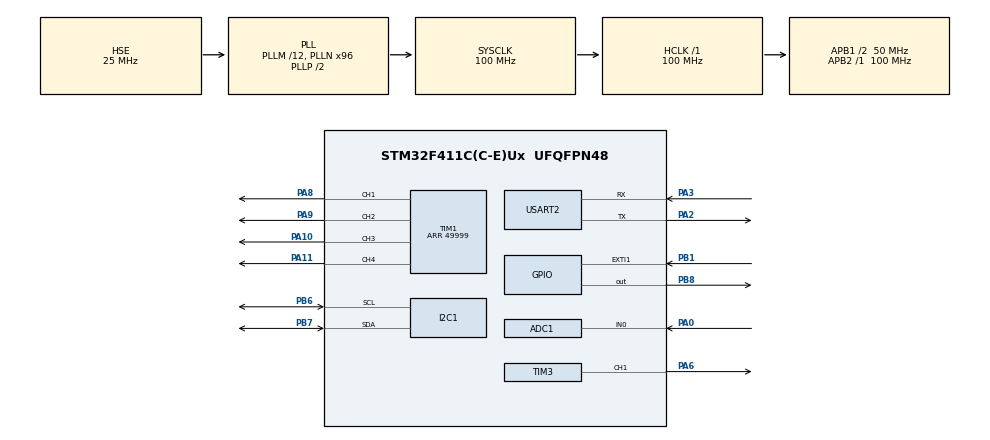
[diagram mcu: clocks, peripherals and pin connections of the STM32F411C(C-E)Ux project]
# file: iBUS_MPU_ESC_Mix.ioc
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ADC1.Channel-1\#ChannelRegularConversion=ADC_CHANNEL_0
ADC1.ClockPrescaler=ADC_CLOCK_SYNC_PCLK_DIV8
ADC1.ContinuousConvMode=ENABLE
ADC1.DMAContinuousRequests=ENABLE
ADC1.NbrOfConversionFlag=1
ADC1.Rank-1\#ChannelRegularConversion=1
ADC1.SamplingTime-1\#ChannelRegularConversion=ADC_SAMPLETIME_480CYCLES
ADC1.master=1
Dma.ADC1.0.Direction=DMA_PERIPH_TO_MEMORY
Dma.ADC1.0.FIFOMode=DMA_FIFOMODE_DISABLE
Dma.ADC1.0.Instance=DMA2_Stream0
Dma.ADC1.0.MemDataAlignment=DMA_MDATAALIGN_HALFWORD
Dma.ADC1.0.MemInc=DMA_MINC_DISABLE
Dma.ADC1.0.Mode=DMA_CIRCULAR
Dma.ADC1.0.PeriphDataAlignment=DMA_PDATAALIGN_HALFWORD
Dma.ADC1.0.PeriphInc=DMA_PINC_DISABLE
Dma.ADC1.0.Priority=DMA_PRIORITY_LOW
Dma.Request0=ADC1
I2C1.I2C_Mode=I2C_Fast
Mcu.Family=STM32F4
Mcu.Name=STM32F411C(C-E)Ux
Mcu.Package=UFQFPN48
NVIC.DMA2_Stream0_IRQn=true\:2\:0\:true\:false\:true\:false\:true\:true
NVIC.EXTI1_IRQn=true\:1\:0\:true\:false\:true\:true\:true\:true
NVIC.I2C1_ER_IRQn=true\:0\:0\:false\:false\:true\:true\:true\:true
NVIC.I2C1_EV_IRQn=true\:0\:0\:true\:false\:true\:true\:true\:true
NVIC.PriorityGroup=NVIC_PRIORITYGROUP_4
NVIC.TIM1_TRG_COM_TIM11_IRQn=true\:2\:0\:true\:false\:true\:true\:true\:true
NVIC.TIM1_UP_TIM10_IRQn=true\:0\:0\:true\:false\:true\:true\:true\:true
NVIC.USART2_IRQn=true\:1\:0\:true\:false\:true\:true\:true\:true
PA0-WKUP.Signal=ADCx_IN0
PA10.Signal=S_TIM1_CH3
PA11.Signal=S_TIM1_CH4
PA13.Mode=Trace_Asynchronous_SW
PA13.Signal=SYS_JTMS-SWDIO
PA14.Mode=Trace_Asynchronous_SW
PA14.Signal=SYS_JTCK-SWCLK
PA2.Mode=Asynchronous
PA2.Signal=USART2_TX
PA3.Mode=Asynchronous
PA3.Signal=USART2_RX
PA6.Signal=S_TIM3_CH1
PA8.Signal=S_TIM1_CH1
PA9.Signal=S_TIM1_CH2
PB1.Signal=GPXTI1
PB3.Mode=Trace_Asynchronous_SW
PB3.Signal=SYS_JTDO-SWO
PB6.Mode=I2C
PB6.Signal=I2C1_SCL
PB7.Mode=I2C
PB7.Signal=I2C1_SDA
PB8.Signal=GPIO_Output
PH0\ -\ OSC_IN.Mode=HSE-External-Oscillator
PH0\ -\ OSC_IN.Signal=RCC_OSC_IN
PH1\ -\ OSC_OUT.Mode=HSE-External-Oscillator
PH1\ -\ OSC_OUT.Signal=RCC_OSC_OUT
ProjectManager.HeapSize=0x200
ProjectManager.StackSize=0x400
ProjectManager.TargetToolchain=STM32CubeIDE
RCC.48MHZClocksFreq_Value=50000000
RCC.AHBFreq_Value=100000000
RCC.APB1CLKDivider=RCC_HCLK_DIV2
RCC.APB1Freq_Value=50000000
RCC.APB1TimFreq_Value=100000000
RCC.APB2Freq_Value=100000000
RCC.APB2TimFreq_Value=100000000
RCC.CortexFreq_Value=100000000
RCC.HCLKFreq_Value=100000000
RCC.HSE_VALUE=25000000
RCC.HSI_VALUE=16000000
RCC.LSE_VALUE=32768
RCC.PLLM=12
RCC.PLLN=96
RCC.PLLSourceVirtual=RCC_PLLSOURCE_HSE
RCC.RCC_RTC_Clock_Source=RCC_RTCCLKSOURCE_LSI
RCC.RCC_RTC_Clock_SourceVirtual=RCC_RTCCLKSOURCE_LSI
RCC.SYSCLKFreq_VALUE=100000000
RCC.SYSCLKSource=RCC_SYSCLKSOURCE_PLLCLK
RCC.VCOOutputFreq_Value=200000000
SH.ADCx_IN0.0=ADC1_IN0,IN0
SH.S_TIM1_CH1.0=TIM1_CH1,PWM Generation1 CH1
SH.S_TIM1_CH2.0=TIM1_CH2,PWM Generation2 CH2
SH.S_TIM1_CH3.0=TIM1_CH3,PWM Generation3 CH3
SH.S_TIM1_CH4.0=TIM1_CH4,PWM Generation4 CH4
SH.S_TIM3_CH1.0=TIM3_CH1,PWM Generation1 CH1
TIM1.AutoReloadPreload=TIM_AUTORELOAD_PRELOAD_ENABLE
TIM1.Channel-PWM\ Generation1\ CH1=TIM_CHANNEL_1
TIM1.Channel-PWM\ Generation2\ CH2=TIM_CHANNEL_2
TIM1.Channel-PWM\ Generation3\ CH3=TIM_CHANNEL_3
TIM1.Channel-PWM\ Generation4\ CH4=TIM_CHANNEL_4
TIM1.Period=49999
TIM10.AutoReloadPreload=TIM_AUTORELOAD_PRELOAD_ENABLE
TIM10.Period=1999
TIM10.Prescaler=99
TIM11.AutoReloadPreload=TIM_AUTORELOAD_PRELOAD_ENABLE
TIM11.Period=999
TIM11.Prescaler=199
TIM2.AutoReloadPreload=TIM_AUTORELOAD_PRELOAD_ENABLE
TIM2.Period=0xFFFFFFFF
TIM2.Prescaler=9
TIM3.AutoReloadPreload=TIM_AUTORELOAD_PRELOAD_ENABLE
TIM3.Channel-PWM\ Generation1\ CH1=TIM_CHANNEL_1
TIM3.Period=99
TIM3.Prescaler=2999
TIM3.Pulse-PWM\ Generation1\ CH1=50
USART2.VirtualMode=VM_ASYNC
VP_TIM10_VS_ClockSourceINT.Mode=Enable_Timer
VP_TIM11_VS_ClockSourceINT.Mode=Enable_Timer
VP_TIM2_VS_ClockSourceINT.Mode=Internal
VP_TIM3_VS_ClockSourceINT.Mode=Internal
board=custom

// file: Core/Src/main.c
/* USER CODE BEGIN Header */
/**
  ******************************************************************************
  * @file           : main.c
  * @brief          : Main program body
  ******************************************************************************
  * @attention
  *
  * Copyright (c) 2026 STMicroelectronics.
  * All rights reserved.
  *
  * This software is licensed under terms that can be found in the LICENSE file
  * in the root directory of this software component.
  * If no LICENSE file comes with this software, it is provided AS-IS.
  *
  ******************************************************************************
  */
/* USER CODE END Header */
#include "main.h"
#include "string.h"
#include "adc.h"
#include "dma.h"
#include "i2c.h"
#include "tim.h"
#include "usart.h"
#include "gpio.h"
#include "unstuck_i2c.h"
#include "mpu6050.h"
#include "iBUS.h"
#include "motor.h"
#include "battery.h"
#include "pid.h"

/* USER CODE BEGIN PV */

volatile uint32_t dwt_loop_exec_ticks = 0;    // Thời gian CPU xử lý 1 vòng lặp PID
volatile float loop_exec_us = 0.0f;           // Thời gian thực thi PID (us)

uint32_t tim1_ch1 = 12500;
uint32_t tim1_ch2 = 12500;
uint32_t tim1_ch3 = 12500;
uint32_t tim1_ch4 = 12500;

float Pitch_PID = 0.0f;
float Roll_PID = 0.0f;
//Chỉ để tường minh, ko cần tới nỗi 3 biến
float Yaw_RT_PID = 0.0f;
float Yaw_ANGLE_PID = 0.0f;
float Yaw_FINAL_PID = 0.0f;
//Biến tham chiếu góc mục tiêu
float Yaw_HEADING_REF = 0.0f;

//PID kép trục Pitch
PID_t pid_pitch_outer = {.KP = 2.0f, .KI = 0.0f, .KD = 0.0f, .error_sum = 0.0f, .prev_val = 0.0f, .IIR_derivative = 0.0f, .PID_OUT = 0.0f};
PID_t pid_pitch_inner = {.KP = 1.0f, .KI = 0.0f, .KD = 0.0f, .error_sum = 0.0f, .prev_val = 0.0f, .IIR_derivative = 0.0f, .PID_OUT = 0.0f};

//PID kép trục Roll
PID_t pid_roll_outer  = {.KP = 2.0f, .KI = 0.0f, .KD = 0.0f, .error_sum = 0.0f, .prev_val = 0.0f, .IIR_derivative = 0.0f, .PID_OUT = 0.0f};
PID_t pid_roll_inner  = {.KP = 1.0f, .KI = 0.0f, .KD = 0.0f, .error_sum = 0.0f, .prev_val = 0.0f, .IIR_derivative = 0.0f, .PID_OUT = 0.0f};

//PID đơn trục Yaw, tốc độ góc
PID_t pid_yaw_rt  = {.KP = 1.0f, .KI = 0.0f, .KD = 0.0f, .error_sum = 0.0f, .prev_val = 0.0f, .IIR_derivative = 0.0f, .PID_OUT = 0.0f};

//PID đơn trục Yaw, chỉ góc
PID_t pid_yaw_ag  = {.KP = 2.0f, .KI = 0.0f, .KD = 0.0f, .error_sum = 0.0f, .prev_val = 0.0f, .IIR_derivative = 0.0f, .PID_OUT = 0.0f};

MPU_MEASUREMENT mpu_mea = {0};
EULER_MEASUREMENT eul_mea = {0};
//Mặc định xung PWM xuất ra là 125us, tức méo quay quạt đâu
MOTOR motor_speed = {12500, 12500, 12500, 12500};

volatile uint8_t mpu_data_ready_flag = 0;
volatile uint8_t ibus_loss_connect_flag = 0;
volatile uint8_t ibus_loss_connect_cnt =0;

// Xem data này có "mới nhất" hay ko
uint8_t ibus_fresh_data =0;
// Snapshot frame iBUS thuộc riêng main, dùng để checksum và decode
uint8_t ibus_snapshot[32];

//MPU hàng bãi, áp dụng logic check xem nó có bị lỏ như mất RX ko
volatile uint8_t mpu_loss_cnt = 0;
volatile uint8_t mpu_loss_flag = 0;
//Biến lấy đại 1 trục bất kì của MPU, vì mpu ko thể có data cũ và mới giống nhau
int16_t old_raw_z = 0;
int16_t curren_raw_z = 0;

uint8_t failsafe_flag = 0;
//Mặc định là lock ko cho chạy motor
uint8_t motor_lock_flag = 1;
uint16_t ibus_prev_val =0;

//Cờ cho ngắt PID, update bổ sung volatile (ko hiểu tại sao ban đầu ko bỏ volatile)
volatile uint8_t pid_flag = 0;

//Bien đọc điện áp của cục pin, update bổ sung volatile (ko hiểu tại sao ban đầu ko bỏ volatile)
volatile uint32_t raw_adc_val;
float BAT_vol;
/* USER CODE END PV */

void SystemClock_Config(void);

/* USER CODE BEGIN 0 */
void Pre_Flight_Check(void);
void Buzzer_Error_Beep(void);
void Buzzer_Status_Beep(void);
void Buzzer_Success(void);
void Buzzer_On(void);
void Buzzer_Off(void);
void ESC_Calib(void);
void Buzzer_Ont(void);
void Motor_Safety(MOTOR *mt_ptr);
/* USER CODE END 0 */

int main(void)
{

  /* MCU Configuration--------------------------------------------------------*/

  /* Reset of all peripherals, Initializes the Flash interface and the Systick. */
  HAL_Init();

  /* Configure the system clock */
  SystemClock_Config();

  /* Initialize all configured peripherals */
  MX_GPIO_Init();
  MX_DMA_Init();
  MX_I2C1_Init();
  MX_TIM1_Init();
  MX_ADC1_Init();
  MX_TIM2_Init();
  MX_TIM3_Init();
  MX_TIM10_Init();
  MX_TIM11_Init();
  MX_USART2_UART_Init();
  /* USER CODE BEGIN 2 */

  //Timer cho ESC
  HAL_TIM_Base_Start(&htim1);
  HAL_TIM_PWM_Start(&htim1, TIM_CHANNEL_1);
  HAL_TIM_PWM_Start(&htim1, TIM_CHANNEL_2);
  HAL_TIM_PWM_Start(&htim1, TIM_CHANNEL_3);
  HAL_TIM_PWM_Start(&htim1, TIM_CHANNEL_4);

  //Timer cho unstuck_i2c hàm nanos
  HAL_TIM_Base_Start(&htim2);

  //Timer dành cho PID
  HAL_TIM_Base_Start_IT(&htim10);
  //Timer dành cho check connect RX vật lý, chạy ngắt 500Hz
  HAL_TIM_Base_Start_IT(&htim11);

  //Bắt đầu khởi tạo 1 đống cấu kiện
  MPU_INIT(&hi2c1);
  fs_i6ab_init(&huart2);
  Motor_Init(&htim1);
  BAT_INIT(&hadc1, &raw_adc_val);
  MPU_CALIB_GYRO(500, &mpu_mea);

  //Hàm tổng hợp các bước check an toàn bay
  Pre_Flight_Check();

  //Timer cho cái còi lởm
  HAL_TIM_PWM_Start(&htim3, TIM_CHANNEL_1);

  //Giờ mới cho các cấu hình MPU ngắt chạy này, để tránh bị giành đường I2C1
  MPU_DATA_READY_START();
  /* USER CODE END 2 */

  /* Infinite loop */
	while (1) {

		/* USER CODE BEGIN 3 */
		if (mpu_data_ready_flag == 1) {
			mpu_data_ready_flag = 0;
			// Gọi hàm toán tử giải mã đại số bitwise bằng cơ chế truyền con trỏ tham chiếu
			MPU_RAW_MEASUREMENT(&mpu_mea);
			CONVERT_TO_ORIENT(&mpu_mea, &eul_mea);
			curren_raw_z = (int16_t) ((mpu_mea.raw_buffer[4] << 8)
					| mpu_mea.raw_buffer[5]);
			//Nếu daata biến thiên thì ok mpu vẫn chạy
			if (curren_raw_z != old_raw_z) {
				mpu_loss_cnt = 0;
				mpu_loss_flag = 0;
			}
			//Data cũ sẽ chạy dưới đây
			old_raw_z = curren_raw_z;
		}

		//Biến check xem Main vừa sao chép được frame vào snapshot hay chưa
		uint8_t have_frame = 0;
		//Bắt giá trị PRIMASK cũ là gì
		uint32_t old_primask = __get_PRIMASK();
		// Tạm chặn các ngắt có mức ưu tiên cấu hình được, trường hợp này là USART
		__disable_irq();

		if (ibus_cplt_flag == 1) {
			//Có frame thì bắt đầu memcpy vào ibus_snapshot
			memcpy(ibus_snapshot, ibus_mailbox, sizeof(ibus_snapshot));
			// Reset cờ truyền frame ibus
			ibus_cplt_flag = 0;
			//Main vừa sao chép được frame vào snapshot
			have_frame = 1;
		}
		//Trả ngắt USART lai thông qua cơ chế trả trạng thái trước khi Exception Entry
		__set_PRIMASK(old_primask);

		if (have_frame == 1) {
			if (ibus_check_sum(&ibus_snapshot[0], 32) == 1) {

				ia6b_decode_data(&ibus_snapshot[0], &fs_i6);
				ibus_loss_connect_cnt = 0;
				ibus_loss_connect_flag = 0;
				//Data này là mới nhé cu
				ibus_fresh_data = 1;
				//Nếu mà check ra failsafe thì dựng cờ lên

				if (is_failsafe(&fs_i6) != 0) {
					failsafe_flag = 1;
				} else
					failsafe_flag = 0;
			}
		}
		Motor_Safety(&motor_speed);

		//Lấy giá trị điện áp cục pin
		BAT_GET_VOL(raw_adc_val, &BAT_vol);

		//Nếu pin yếu thì còi cho    biết còn bay về
		if (is_bat_low(BAT_vol) == 1 && motor_lock_flag == 0) {
			Buzzer_On();
		}

		if (pid_flag == 1) {
			//uint32_t start_exec = DWT->CYCCNT;

			pid_flag = 0;

			if (fs_i6.L_UD <= 1015 || motor_lock_flag == 1) {
				reset_error(&pid_roll_outer);
				reset_error(&pid_roll_inner);
				reset_error(&pid_pitch_outer);
				reset_error(&pid_pitch_inner);
				reset_error(&pid_yaw_rt);
				reset_error(&pid_yaw_ag);

				Pitch_PID = 0.0f;
				Roll_PID = 0.0f;
				Yaw_FINAL_PID = 0.0f;
			}
			//PID Kép trục Pitch
			pid_pitch_roll(3000 - fs_i6.R_UD, mpu_mea.gyro.y, eul_mea.pitch,
					&pid_pitch_outer, &pid_pitch_inner);
			Pitch_PID = pid_pitch_inner.PID_OUT;

			//PID kép trục Roll
			pid_pitch_roll(fs_i6.R_RL, -mpu_mea.gyro.x, eul_mea.roll,
					&pid_roll_outer, &pid_roll_inner);
			Roll_PID = pid_roll_inner.PID_OUT;

			if (fs_i6.L_RL < 1450 || fs_i6.L_RL > 1550) {
				//Tham chiếu để Drone biết nên điều tốc motor xoay ra sao
				Yaw_HEADING_REF = eul_mea.yaw;
				//PID đơn trục Yaw theo tốc độ góc
				pid_yaw_rate(fs_i6.L_RL, mpu_mea.gyro.z, &pid_yaw_rt);
				Yaw_RT_PID = pid_yaw_rt.PID_OUT;
				Yaw_FINAL_PID = Yaw_RT_PID;
			} else {
				//PID đơn trục Yaw theo góc thái độ
				pid_yaw_angle(Yaw_HEADING_REF, eul_mea.yaw, mpu_mea.gyro.z,
						&pid_yaw_ag);
				Yaw_ANGLE_PID = pid_yaw_ag.PID_OUT;
				Yaw_FINAL_PID = Yaw_ANGLE_PID;
			}

			//Chuyển đổi tín hiệu tay cầm thành xung PWM
			uint16_t target_pwm_m1 = (uint16_t) (12500
					+ (fs_i6.L_UD - 1000) * 12.5f + Pitch_PID + Roll_PID
					- Yaw_FINAL_PID);
			//(fs_i6.L_RL - 1500) * 5.0f);

			uint16_t target_pwm_m2 = (uint16_t) (12500
					+ (fs_i6.L_UD - 1000) * 12.5f - Pitch_PID + Roll_PID
					+ Yaw_FINAL_PID);
			//(fs_i6.L_RL - 1500) * 5.0f);

			uint16_t target_pwm_m3 = (uint16_t) (12500
					+ (fs_i6.L_UD - 1000) * 12.5f - Pitch_PID - Roll_PID
					- Yaw_FINAL_PID);
			//(fs_i6.L_RL - 1500) * 5.0f);

			uint16_t target_pwm_m4 = (uint16_t) (12500
					+ (fs_i6.L_UD - 1000) * 12.5f + Pitch_PID - Roll_PID
					+ Yaw_FINAL_PID);
			//(fs_i6.L_RL - 1500) * 5.0f);
			Motor_Update_Values(&motor_speed, target_pwm_m4, target_pwm_m2,
					target_pwm_m3, target_pwm_m1);
			// Tính thời gian CPU chạy hết khối lệnh trên:
			//dwt_loop_exec_ticks = DWT->CYCCNT - start_exec;
			//loop_exec_us = (float)dwt_loop_exec_ticks / 100.0f;
		}
	}
	/* USER CODE END 3 */
}

void SystemClock_Config(void)
{
  RCC_OscInitTypeDef RCC_OscInitStruct = {0};
  RCC_ClkInitTypeDef RCC_ClkInitStruct = {0};

  /** Configure the main internal regulator output voltage
  */
  __HAL_RCC_PWR_CLK_ENABLE();
  __HAL_PWR_VOLTAGESCALING_CONFIG(PWR_REGULATOR_VOLTAGE_SCALE1);

  /** Initializes the RCC Oscillators according to the specified parameters
  * in the RCC_OscInitTypeDef structure.
  */
  RCC_OscInitStruct.OscillatorType = RCC_OSCILLATORTYPE_HSE;
  RCC_OscInitStruct.HSEState = RCC_HSE_ON;
  RCC_OscInitStruct.PLL.PLLState = RCC_PLL_ON;
  RCC_OscInitStruct.PLL.PLLSource = RCC_PLLSOURCE_HSE;
  RCC_OscInitStruct.PLL.PLLM = 12;
  RCC_OscInitStruct.PLL.PLLN = 96;
  RCC_OscInitStruct.PLL.PLLP = RCC_PLLP_DIV2;
  RCC_OscInitStruct.PLL.PLLQ = 4;
  if (HAL_RCC_OscConfig(&RCC_OscInitStruct) != HAL_OK)
  {
    Error_Handler();
  }

  /** Initializes the CPU, AHB and APB buses clocks
  */
  RCC_ClkInitStruct.ClockType = RCC_CLOCKTYPE_HCLK|RCC_CLOCKTYPE_SYSCLK
                              |RCC_CLOCKTYPE_PCLK1|RCC_CLOCKTYPE_PCLK2;
  RCC_ClkInitStruct.SYSCLKSource = RCC_SYSCLKSOURCE_PLLCLK;
  RCC_ClkInitStruct.AHBCLKDivider = RCC_SYSCLK_DIV1;
  RCC_ClkInitStruct.APB1CLKDivider = RCC_HCLK_DIV2;
  RCC_ClkInitStruct.APB2CLKDivider = RCC_HCLK_DIV1;

  if (HAL_RCC_ClockConfig(&RCC_ClkInitStruct, FLASH_LATENCY_3) != HAL_OK)
  {
    Error_Handler();
  }
}

/* USER CODE BEGIN 4 */
void Pre_Flight_Check(void){
	while(is_iBUS_Received() == 0){
		Buzzer_Error_Beep();
	}
	Buzzer_Success();

	if(fs_i6.SwB == 2000){
		Buzzer_Status_Beep();
		ESC_Calib ();
		while(fs_i6.SwB != 1000){
			is_iBUS_Received();
			Buzzer_Status_Beep();
		}
	}
	Buzzer_Success();

	//Nếu ga chưa về 0 sau quá trình khởi tạo thì ko thể chạy hàm main, đảm bảo an toàn
	//Nếu ga về 0 mà chưa chuyển về Disarm thì cũng khoá ko cho bay
	while(is_iBUS_Throttle_Min()== 0 || fs_i6.SwA == 2000){
		Buzzer_Error_Beep();
	}
	Buzzer_Success();
}

void HAL_GPIO_EXTI_Callback(uint16_t GPIO_Pin)
{
  // Kiểm tra chân phát động ngắt có phải là PB1
  // MPU6050 Data Ready: sample mới đã sẵn sàng trong register của MPU
  if (GPIO_Pin == GPIO_PIN_1)
  {
    // Chỉ khởi động I2C non-blocking để nhận 14 bytes vào raw_buffer
    // Việc truyền dữ liệu tiếp tục qua I2C interrupt, EXTI không chờ hoàn thành
    HAL_StatusTypeDef status = MPU_TRIGGER_READ_IT(&hi2c1, &mpu_mea);
    if (status == HAL_BUSY)
    {
    // I2C dang ban khong dong nghia bus bi treo.
    // Bo request nay va cho MPU Data Ready tiep theo.
    // Khong reset I2C khi transaction truoc co the van dang hoat dong.
    // Tạm ko chứng minh được tính hiệu quả của hàm này, nên trong Firmware, hàm unstuck sẽ bị loại bỏ
      //unstuck_i2c1();
    }
  }
}

void HAL_I2C_MemRxCpltCallback(I2C_HandleTypeDef *hi2c)
{
  // Callback chỉ được gọi sau khi I2C đã nhận hoàn tất toàn bộ 14 bytes
  if (hi2c->Instance == I2C1)
  {
	// Báo cho main: raw_buffer đã có một sample hoàn chỉnh để xử lý
    mpu_data_ready_flag = 1;
  }
}

//Callback cho nhận data iBUS
void HAL_UART_RxCpltCallback(UART_HandleTypeDef *huart){
	if(huart->Instance == USART2){
		usart2_rx_flag = 1;
		//Chạy hàm đọc 32byte iBUS
		iBUS_Parse_Byte(&usart2_rx_data);
		//Ngắt từng byte một
		HAL_UART_Receive_IT(&huart2, &usart2_rx_data, 1);
	}
}

void Buzzer_On(void){
	TIM3->ARR = 99;
	TIM3->CCR1 = 50;
	TIM3->PSC = 284;
	//HAL_TIM_PWM_Start(&htim3, TIM_CHANNEL_1);
}

void Buzzer_Off(void){
	TIM3->CCR1 = 0;
}

// Buzz cao dành cho tín hiệu iBUS
void Buzzer_Error_Beep(void){
	TIM3->ARR = 99;
	TIM3->CCR1 = 50; // Duy trì chính xác 50% Duty Cycle cho màng loa rung cực đại
	HAL_TIM_PWM_Start(&htim3, TIM_CHANNEL_1);
	TIM3->PSC = 284;
	HAL_Delay(100);
	HAL_TIM_PWM_Stop(&htim3, TIM_CHANNEL_1);
	HAL_Delay(100);
}

void Buzzer_Status_Beep(void){
	TIM3->ARR = 99;
	TIM3->CCR1 = 50; // Duy trì chính xác 50% Duty Cycle cho màng loa rung cực đại
	HAL_TIM_PWM_Start(&htim3, TIM_CHANNEL_1);
	TIM3->PSC = 999;
	HAL_Delay(100);
	HAL_TIM_PWM_Stop(&htim3, TIM_CHANNEL_1);
	HAL_Delay(100);
}

//Hàm AI viết để nghe tiếng như winXP
void Buzzer_Success(void)
{
	TIM3->ARR = 99;
	TIM3->CCR1 = 35;

	const uint16_t psc[] =
	{
			270,
			315,
			365,
			395
	};

	const uint16_t duration[] =
	{
			120,
			120,
			150,
			260
	};

	for(uint8_t i = 0; i < 4; i++)
	{
		TIM3->PSC = psc[i];

		HAL_TIM_PWM_Start(&htim3, TIM_CHANNEL_1);
		HAL_Delay(duration[i]);
		HAL_TIM_PWM_Stop(&htim3, TIM_CHANNEL_1);

		HAL_Delay(35);
	}
	HAL_Delay(1000);
}

void ESC_Calib(){
	TIM1->CCR1 = 25000;
	TIM1->CCR2 = 25000;
	TIM1->CCR3 = 25000;
	TIM1->CCR4 = 25000;
	HAL_Delay(7000);

	TIM1->CCR1 = 12500;
	TIM1->CCR2 = 12500;
	TIM1->CCR3 = 12500;
	TIM1->CCR4 = 12500;
	HAL_Delay(8000);
}

void Motor_Safety(MOTOR *mt_ptr){
	  //Nếu như gạt cần bay và ga thấp nhất thì mới cho bay + gỡ cờ khoá
	  if(fs_i6.SwA == 2000
		&& fs_i6.L_UD <= 1010
		&& ibus_fresh_data == 1){

	  	if(motor_lock_flag == 1){
			// Chụp lại góc Yaw thực tế lúc drone nằm trên mặt đất
			Yaw_HEADING_REF = eul_mea.yaw;
            motor_lock_flag = 0;
		}
	  	//Pin ko yếu thì ko có còi đâu
	  	if(is_bat_low(BAT_vol) == 0) {
	  		Buzzer_Off();
	  	}
	    //Động cơ quay chậm để cho biết sẵn sàng
		Motor_Min_Throttle(&htim1);
	  }
	  //Xoá luôn cờ	data mới
	  ibus_fresh_data = 0;
	  //Nếu như gạt cần bay XUỐNG (SwA = 2000) nhưng ga VẪN CAO
	  if(fs_i6.SwA == 2000 && motor_lock_flag == 1) {
		Buzzer_On();
	  }

	  //Gạt cần SwA lên là khoá, và tắt kèn
	  if(fs_i6.SwA == 1000) {
		  motor_lock_flag = 1;
		  Buzzer_Off();
	  }

	  //Nếu cờ lock đang bật thì khoá động cơ
	  if(motor_lock_flag == 1){
	  	 Motor_Lock(&htim1);
	  }
	  //Mất mpu thì phắn
	  else if(mpu_loss_flag == 1){
		  motor_lock_flag = 1;
		  Motor_Lock(&htim1);
	  }
	  //Nếu bất kì điều kiện nào trong đây được kích hoạt thì báo còi + giảm tốc lực
	  else if(failsafe_flag == 1 || ibus_loss_connect_flag == 1){
		Buzzer_On();
		Motor_Min_Throttle(&htim1);
	  }
	  //Thoãa hết thì bay
	  else
	  {
	  	//Nếu ga cao cao tí thì nhận điều tốc bằng PWM
	  	if(fs_i6.L_UD > 1050){
			Motor_Set_Speed(mt_ptr);
	  	}
	  	else{
			Motor_Min_Throttle(&htim1);
		}
	  	//Còi tắt nếu pin ko yếu
	  	if(is_bat_low(BAT_vol) == 0) {
	  		Buzzer_Off();
	  	}
	  }
}

void HAL_TIM_PeriodElapsedCallback(TIM_HandleTypeDef *htim) {
	//Boi vi ngat nao cung nhay vao ham nay, nen phai check xem co phai dung TIM khong?
	if (htim->Instance == htim11.Instance) {
		ibus_loss_connect_cnt++;
		mpu_loss_cnt++;
		if (ibus_loss_connect_cnt >= 250) {
			//Bật cờ gì đó ở đây
			ibus_loss_connect_flag = 1;
			ibus_loss_connect_cnt = 0;
		}
		if (mpu_loss_cnt >= 50){
			//MPU hẻo rồi đó
			mpu_loss_flag = 1;
			mpu_loss_cnt = 0;
		}
	}
	if (htim->Instance == htim10.Instance){
		pid_flag = 1;
	}
}

/* USER CODE END 4 */

void Error_Handler(void)
{
  __disable_irq();
  while (1)
  {
  }
}
